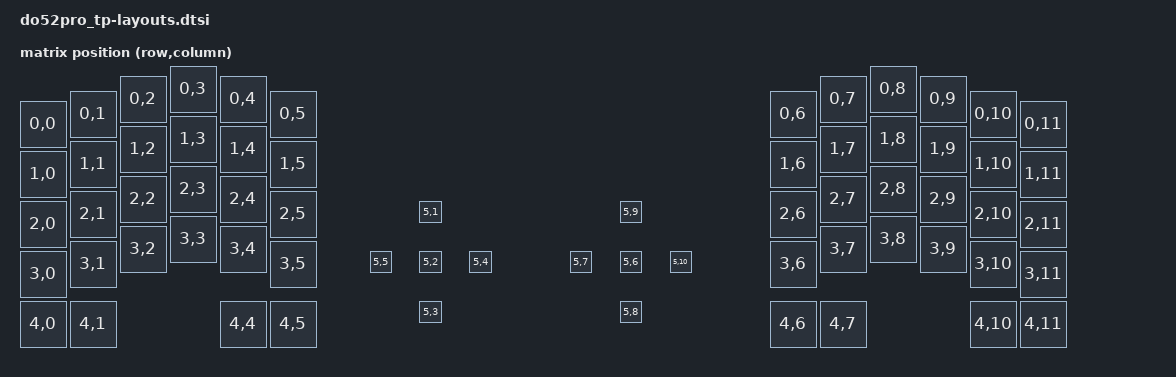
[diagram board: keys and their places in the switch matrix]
#include <physical_layouts.dtsi>

/ {
    default_transform0: keymap_transform0 {
        compatible = "zmk,matrix-transform";
        columns = <12>;
        rows = <6>;
        map = <
            RC(0,0) RC(0,1) RC(0,2) RC(0,3) RC(0,4) RC(0,5)  RC(0,6) RC(0,7) RC(0,8) RC(0,9) RC(0,10) RC(0,11)
            RC(1,0) RC(1,1) RC(1,2) RC(1,3) RC(1,4) RC(1,5)  RC(1,6) RC(1,7) RC(1,8) RC(1,9) RC(1,10) RC(1,11)
            RC(2,0) RC(2,1) RC(2,2) RC(2,3) RC(2,4) RC(2,5)  RC(2,6) RC(2,7) RC(2,8) RC(2,9) RC(2,10) RC(2,11)
            RC(3,0) RC(3,1) RC(3,2) RC(3,3) RC(3,4) RC(3,5)  RC(3,6) RC(3,7) RC(3,8) RC(3,9) RC(3,10) RC(3,11)
            RC(4,0) RC(4,1)                     RC(4,4) RC(4,5)  RC(4,6) RC(4,7)                 RC(4,10) RC(4,11)
                                      RC(5,5) RC(5,3) RC(5,2) RC(5,1) RC(5,4)
                                      RC(5,7) RC(5,8) RC(5,10) RC(5,9) RC(5,6)
        >;
    };

    physical_layout0: physical_layout0 {
        compatible = "zmk,physical-layout";
        display-name = "DO52Pro TP";
        kscan = <&kscan0>;
        transform = <&default_transform0>;
        keys =
            <&key_physical_attrs 100 100    0 100 0 0 0>,
            <&key_physical_attrs 100 100  100  80 0 0 0>,
            <&key_physical_attrs 100 100  200  50 0 0 0>,
            <&key_physical_attrs 100 100  300  30 0 0 0>,
            <&key_physical_attrs 100 100  400  50 0 0 0>,
            <&key_physical_attrs 100 100  500  80 0 0 0>,
            <&key_physical_attrs 100 100 1500  80 0 0 0>,
            <&key_physical_attrs 100 100 1600  50 0 0 0>,
            <&key_physical_attrs 100 100 1700  30 0 0 0>,
            <&key_physical_attrs 100 100 1800  50 0 0 0>,
            <&key_physical_attrs 100 100 1900  80 0 0 0>,
            <&key_physical_attrs 100 100 2000 100 0 0 0>,

            <&key_physical_attrs 100 100    0 200 0 0 0>,
            <&key_physical_attrs 100 100  100 180 0 0 0>,
            <&key_physical_attrs 100 100  200 150 0 0 0>,
            <&key_physical_attrs 100 100  300 130 0 0 0>,
            <&key_physical_attrs 100 100  400 150 0 0 0>,
            <&key_physical_attrs 100 100  500 180 0 0 0>,
            <&key_physical_attrs 100 100 1500 180 0 0 0>,
            <&key_physical_attrs 100 100 1600 150 0 0 0>,
            <&key_physical_attrs 100 100 1700 130 0 0 0>,
            <&key_physical_attrs 100 100 1800 150 0 0 0>,
            <&key_physical_attrs 100 100 1900 180 0 0 0>,
            <&key_physical_attrs 100 100 2000 200 0 0 0>,

            <&key_physical_attrs 100 100    0 300 0 0 0>,
            <&key_physical_attrs 100 100  100 280 0 0 0>,
            <&key_physical_attrs 100 100  200 250 0 0 0>,
            <&key_physical_attrs 100 100  300 230 0 0 0>,
            <&key_physical_attrs 100 100  400 250 0 0 0>,
            <&key_physical_attrs 100 100  500 280 0 0 0>,
            <&key_physical_attrs 100 100 1500 280 0 0 0>,
            <&key_physical_attrs 100 100 1600 250 0 0 0>,
            <&key_physical_attrs 100 100 1700 230 0 0 0>,
            <&key_physical_attrs 100 100 1800 250 0 0 0>,
            <&key_physical_attrs 100 100 1900 280 0 0 0>,
            <&key_physical_attrs 100 100 2000 300 0 0 0>,

            <&key_physical_attrs 100 100    0 400 0 0 0>,
            <&key_physical_attrs 100 100  100 380 0 0 0>,
            <&key_physical_attrs 100 100  200 350 0 0 0>,
            <&key_physical_attrs 100 100  300 330 0 0 0>,
            <&key_physical_attrs 100 100  400 350 0 0 0>,
            <&key_physical_attrs 100 100  500 380 0 0 0>,
            <&key_physical_attrs 100 100 1500 380 0 0 0>,
            <&key_physical_attrs 100 100 1600 350 0 0 0>,
            <&key_physical_attrs 100 100 1700 330 0 0 0>,
            <&key_physical_attrs 100 100 1800 350 0 0 0>,
            <&key_physical_attrs 100 100 1900 380 0 0 0>,
            <&key_physical_attrs 100 100 2000 400 0 0 0>,

            <&key_physical_attrs 100 100    0 500 0 0 0>,
            <&key_physical_attrs 100 100  100 500 0 0 0>,
            <&key_physical_attrs 100 100  400 500 0 0 0>,
            <&key_physical_attrs 100 100  500 500 0 0 0>,
            <&key_physical_attrs 100 100 1500 500 0 0 0>,
            <&key_physical_attrs 100 100 1600 500 0 0 0>,
            <&key_physical_attrs 100 100 1900 500 0 0 0>,
            <&key_physical_attrs 100 100 2000 500 0 0 0>,

            <&key_physical_attrs 50 50  700 400 0 0 0>,
            <&key_physical_attrs 50 50  800 500 0 0 0>,
            <&key_physical_attrs 50 50  800 400 0 0 0>,
            <&key_physical_attrs 50 50  800 300 0 0 0>,
            <&key_physical_attrs 50 50  900 400 0 0 0>,
            <&key_physical_attrs 50 50 1100 400 0 0 0>,
            <&key_physical_attrs 50 50 1200 500 0 0 0>,
            <&key_physical_attrs 50 50 1300 400 0 0 0>,
            <&key_physical_attrs 50 50 1200 300 0 0 0>,
            <&key_physical_attrs 50 50 1200 400 0 0 0>;
    };
};
